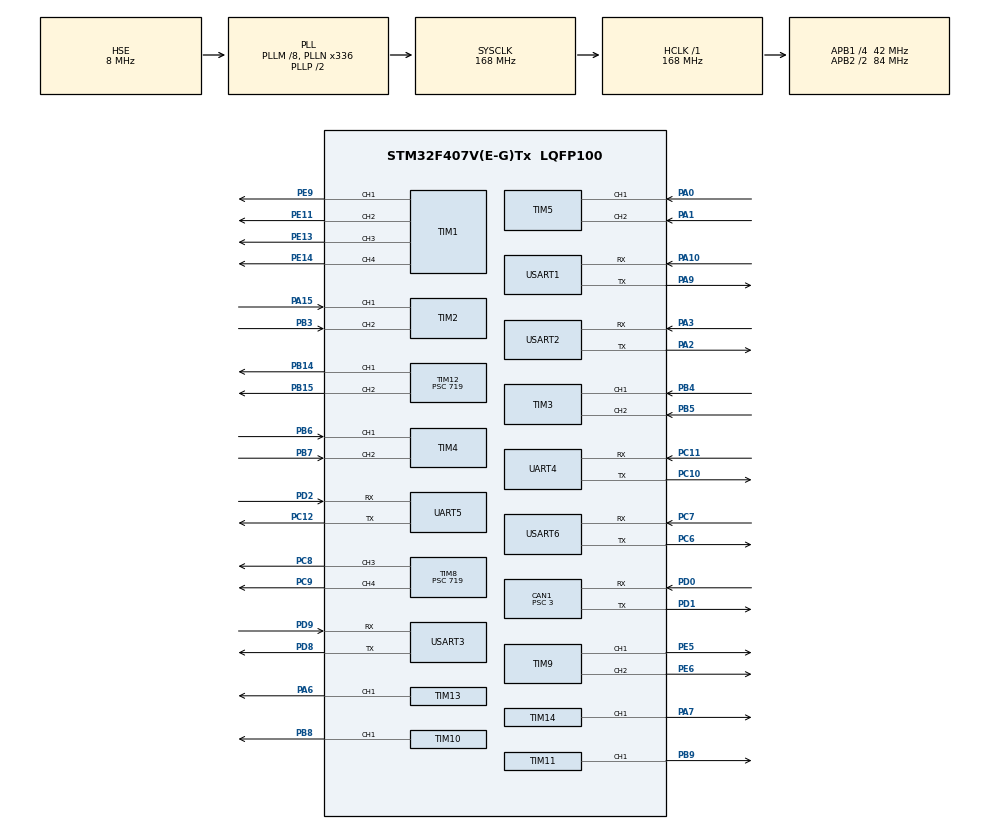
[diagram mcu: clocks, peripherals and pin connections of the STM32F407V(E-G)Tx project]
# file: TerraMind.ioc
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CAN1.BS1=CAN_BS1_9TQ
CAN1.BS2=CAN_BS2_4TQ
CAN1.CalculateBaudRate=1000000
CAN1.CalculateTimeBit=1000
CAN1.CalculateTimeQuantum=71.42857142857143
CAN1.Prescaler=3
FREERTOS.Tasks01=defaultTask,24,384,StartDefaultTask,Default,NULL,Dynamic,NULL,NULL
Mcu.Family=STM32F4
Mcu.Name=STM32F407V(E-G)Tx
Mcu.Package=LQFP100
NVIC.CAN1_RX0_IRQn=true\:5\:0\:false\:false\:true\:true\:true\:true\:true
NVIC.PriorityGroup=NVIC_PRIORITYGROUP_4
NVIC.TIM6_DAC_IRQn=true\:15\:0\:false\:false\:true\:false\:false\:true\:true
NVIC.TimeBase=TIM6_DAC_IRQn
NVIC.TimeBaseIP=TIM6
NVIC.UART4_IRQn=true\:5\:0\:false\:false\:true\:true\:true\:true\:true
NVIC.UART5_IRQn=true\:5\:0\:false\:false\:true\:true\:true\:true\:true
NVIC.USART1_IRQn=true\:5\:0\:false\:false\:true\:true\:true\:true\:true
NVIC.USART2_IRQn=true\:5\:0\:false\:false\:true\:true\:true\:true\:true
NVIC.USART3_IRQn=true\:5\:0\:false\:false\:true\:true\:true\:true\:true
NVIC.USART6_IRQn=true\:5\:0\:false\:false\:true\:true\:true\:true\:true
PA0-WKUP.Signal=S_TIM5_CH1
PA1.Signal=S_TIM5_CH2
PA10.Mode=Asynchronous
PA10.Signal=USART1_RX
PA13.Mode=Serial_Wire
PA13.Signal=SYS_JTMS-SWDIO
PA14.Mode=Serial_Wire
PA14.Signal=SYS_JTCK-SWCLK
PA15.Signal=S_TIM2_CH1_ETR
PA2.Mode=Asynchronous
PA2.Signal=USART2_TX
PA3.Mode=Asynchronous
PA3.Signal=USART2_RX
PA6.Signal=S_TIM13_CH1
PA7.Signal=S_TIM14_CH1
PA9.Mode=Asynchronous
PA9.Signal=USART1_TX
PB14.Signal=S_TIM12_CH1
PB15.Signal=S_TIM12_CH2
PB3.Signal=S_TIM2_CH2
PB4.Signal=S_TIM3_CH1
PB5.Signal=S_TIM3_CH2
PB6.Signal=S_TIM4_CH1
PB7.Signal=S_TIM4_CH2
PB8.Signal=S_TIM10_CH1
PB9.Signal=S_TIM11_CH1
PC10.Mode=Asynchronous
PC10.Signal=UART4_TX
PC11.Mode=Asynchronous
PC11.Signal=UART4_RX
PC12.Mode=Asynchronous
PC12.Signal=UART5_TX
PC14-OSC32_IN.Mode=LSE-External-Oscillator
PC14-OSC32_IN.Signal=RCC_OSC32_IN
PC15-OSC32_OUT.Mode=LSE-External-Oscillator
PC15-OSC32_OUT.Signal=RCC_OSC32_OUT
PC6.Mode=Asynchronous
PC6.Signal=USART6_TX
PC7.Mode=Asynchronous
PC7.Signal=USART6_RX
PC8.Signal=S_TIM8_CH3
PC9.Signal=S_TIM8_CH4
PD0.Mode=CAN_Activate
PD0.Signal=CAN1_RX
PD1.Mode=CAN_Activate
PD1.Signal=CAN1_TX
PD2.Mode=Asynchronous
PD2.Signal=UART5_RX
PD8.Mode=Asynchronous
PD8.Signal=USART3_TX
PD9.Mode=Asynchronous
PD9.Signal=USART3_RX
PE11.Signal=S_TIM1_CH2
PE13.Signal=S_TIM1_CH3
PE14.Signal=S_TIM1_CH4
PE5.Signal=S_TIM9_CH1
PE6.Signal=S_TIM9_CH2
PE9.Signal=S_TIM1_CH1
PH0-OSC_IN.Mode=HSE-External-Oscillator
PH0-OSC_IN.Signal=RCC_OSC_IN
PH1-OSC_OUT.Mode=HSE-External-Oscillator
PH1-OSC_OUT.Signal=RCC_OSC_OUT
ProjectManager.HeapSize=0x200
ProjectManager.StackSize=0x400
ProjectManager.TargetToolchain=MDK-ARM V5.32
RCC.48MHZClocksFreq_Value=84000000
RCC.AHBFreq_Value=168000000
RCC.APB1CLKDivider=RCC_HCLK_DIV4
RCC.APB1Freq_Value=42000000
RCC.APB1TimFreq_Value=84000000
RCC.APB2CLKDivider=RCC_HCLK_DIV2
RCC.APB2Freq_Value=84000000
RCC.APB2TimFreq_Value=168000000
RCC.CortexFreq_Value=168000000
RCC.HCLKFreq_Value=168000000
RCC.HSE_VALUE=8000000
RCC.HSI_VALUE=16000000
RCC.PLLM=8
RCC.PLLN=336
RCC.PLLSourceVirtual=RCC_PLLSOURCE_HSE
RCC.SYSCLKFreq_VALUE=168000000
RCC.SYSCLKSource=RCC_SYSCLKSOURCE_PLLCLK
RCC.VCOOutputFreq_Value=336000000
SH.S_TIM10_CH1.0=TIM10_CH1,PWM Generation1 CH1
SH.S_TIM11_CH1.0=TIM11_CH1,PWM Generation1 CH1
SH.S_TIM12_CH1.0=TIM12_CH1,PWM Generation1 CH1
SH.S_TIM12_CH2.0=TIM12_CH2,PWM Generation2 CH2
SH.S_TIM13_CH1.0=TIM13_CH1,PWM Generation1 CH1
SH.S_TIM14_CH1.0=TIM14_CH1,PWM Generation1 CH1
SH.S_TIM1_CH1.0=TIM1_CH1,PWM Generation1 CH1
SH.S_TIM1_CH2.0=TIM1_CH2,PWM Generation2 CH2
SH.S_TIM1_CH3.0=TIM1_CH3,PWM Generation3 CH3
SH.S_TIM1_CH4.0=TIM1_CH4,PWM Generation4 CH4
SH.S_TIM2_CH1_ETR.0=TIM2_CH1,Encoder_Interface
SH.S_TIM2_CH2.0=TIM2_CH2,Encoder_Interface
SH.S_TIM3_CH1.0=TIM3_CH1,Encoder_Interface
SH.S_TIM3_CH2.0=TIM3_CH2,Encoder_Interface
SH.S_TIM4_CH1.0=TIM4_CH1,Encoder_Interface
SH.S_TIM4_CH2.0=TIM4_CH2,Encoder_Interface
SH.S_TIM5_CH1.0=TIM5_CH1,Encoder_Interface
SH.S_TIM5_CH2.0=TIM5_CH2,Encoder_Interface
SH.S_TIM8_CH3.0=TIM8_CH3,PWM Generation3 CH3
SH.S_TIM8_CH4.0=TIM8_CH4,PWM Generation4 CH4
SH.S_TIM9_CH1.0=TIM9_CH1,PWM Generation1 CH1
SH.S_TIM9_CH2.0=TIM9_CH2,PWM Generation2 CH2
TIM1.Channel-PWM\ Generation1\ CH1=TIM_CHANNEL_1
TIM1.Channel-PWM\ Generation2\ CH2=TIM_CHANNEL_2
TIM1.Channel-PWM\ Generation3\ CH3=TIM_CHANNEL_3
TIM1.Channel-PWM\ Generation4\ CH4=TIM_CHANNEL_4
TIM10.Channel=TIM_CHANNEL_1
TIM11.Channel=TIM_CHANNEL_1
TIM12.Channel-PWM\ Generation1\ CH1=TIM_CHANNEL_1
TIM12.Channel-PWM\ Generation2\ CH2=TIM_CHANNEL_2
TIM12.OCPolarity_1=TIM_OCPOLARITY_LOW
TIM12.OCPolarity_2=TIM_OCPOLARITY_LOW
TIM12.Period=1999
TIM12.Prescaler=719
TIM13.Channel=TIM_CHANNEL_1
TIM13.Period=19999
TIM13.Prescaler=83
TIM14.Channel=TIM_CHANNEL_1
TIM14.Period=19999
TIM14.Prescaler=83
TIM2.EncoderMode=TIM_ENCODERMODE_TI12
TIM3.EncoderMode=TIM_ENCODERMODE_TI12
TIM4.EncoderMode=TIM_ENCODERMODE_TI12
TIM5.EncoderMode=TIM_ENCODERMODE_TI12
TIM8.Channel-PWM\ Generation3\ CH3=TIM_CHANNEL_3
TIM8.Channel-PWM\ Generation4\ CH4=TIM_CHANNEL_4
TIM8.OCPolarity_3=TIM_OCPOLARITY_LOW
TIM8.OCPolarity_4=TIM_OCPOLARITY_LOW
TIM8.Period=1999
TIM8.Prescaler=719
TIM9.Channel-PWM\ Generation1\ CH1=TIM_CHANNEL_1
TIM9.Channel-PWM\ Generation2\ CH2=TIM_CHANNEL_2
UART4.VirtualMode=Asynchronous
UART5.VirtualMode=Asynchronous
USART1.VirtualMode=VM_ASYNC
USART2.VirtualMode=VM_ASYNC
USART3.VirtualMode=VM_ASYNC
USART6.VirtualMode=VM_ASYNC
VP_FREERTOS_VS_CMSIS_V2.Mode=CMSIS_V2
VP_SYS_VS_tim6.Mode=TIM6
VP_TIM10_VS_ClockSourceINT.Mode=Enable_Timer
VP_TIM11_VS_ClockSourceINT.Mode=Enable_Timer
VP_TIM13_VS_ClockSourceINT.Mode=Enable_Timer
VP_TIM14_VS_ClockSourceINT.Mode=Enable_Timer
board=custom

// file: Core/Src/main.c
/* USER CODE BEGIN Header */
/**
  ******************************************************************************
  * @file           : main.c
  * @brief          : Main program body
  ******************************************************************************
  * @attention
  *
  * Copyright (c) 2026 STMicroelectronics.
  * All rights reserved.
  *
  * This software is licensed under terms that can be found in the LICENSE file
  * in the root directory of this software component.
  * If no LICENSE file comes with this software, it is provided AS-IS.
  *
  ******************************************************************************
  */
/* USER CODE END Header */
#include "main.h"
#include "cmsis_os.h"
#include "can.h"
#include "tim.h"
#include "usart.h"
#include "gpio.h"

void SystemClock_Config(void);
void MX_FREERTOS_Init(void);

int main(void)
{

  /* MCU Configuration--------------------------------------------------------*/

  /* Reset of all peripherals, Initializes the Flash interface and the Systick. */
  HAL_Init();

  /* Configure the system clock */
  SystemClock_Config();

  /* Initialize all configured peripherals */
  MX_GPIO_Init();
  MX_CAN1_Init();
  MX_TIM1_Init();
  MX_TIM2_Init();
  MX_TIM3_Init();
  MX_TIM4_Init();
  MX_TIM5_Init();
  MX_TIM8_Init();
  MX_TIM9_Init();
  MX_TIM12_Init();
  MX_UART4_Init();
  MX_UART5_Init();
  MX_USART1_UART_Init();
  MX_USART2_UART_Init();
  MX_USART3_UART_Init();
  MX_USART6_UART_Init();
  MX_TIM10_Init();
  MX_TIM11_Init();
  MX_TIM13_Init();
  MX_TIM14_Init();

  /* Init scheduler */
  osKernelInitialize();  /* Call init function for freertos objects (in cmsis_os2.c) */
  MX_FREERTOS_Init();

  /* Start scheduler */
  osKernelStart();

  /* We should never get here as control is now taken by the scheduler */

  /* Infinite loop */
  while (1)
  {

  }
}

void SystemClock_Config(void)
{
  RCC_OscInitTypeDef RCC_OscInitStruct = {0};
  RCC_ClkInitTypeDef RCC_ClkInitStruct = {0};

  /** Configure the main internal regulator output voltage
  */
  __HAL_RCC_PWR_CLK_ENABLE();
  __HAL_PWR_VOLTAGESCALING_CONFIG(PWR_REGULATOR_VOLTAGE_SCALE1);

  /** Initializes the RCC Oscillators according to the specified parameters
  * in the RCC_OscInitTypeDef structure.
  */
  RCC_OscInitStruct.OscillatorType = RCC_OSCILLATORTYPE_HSE;
  RCC_OscInitStruct.HSEState = RCC_HSE_ON;
  RCC_OscInitStruct.PLL.PLLState = RCC_PLL_ON;
  RCC_OscInitStruct.PLL.PLLSource = RCC_PLLSOURCE_HSE;
  RCC_OscInitStruct.PLL.PLLM = 8;
  RCC_OscInitStruct.PLL.PLLN = 336;
  RCC_OscInitStruct.PLL.PLLP = RCC_PLLP_DIV2;
  RCC_OscInitStruct.PLL.PLLQ = 4;
  if (HAL_RCC_OscConfig(&RCC_OscInitStruct) != HAL_OK)
  {
    Error_Handler();
  }

  /** Initializes the CPU, AHB and APB buses clocks
  */
  RCC_ClkInitStruct.ClockType = RCC_CLOCKTYPE_HCLK|RCC_CLOCKTYPE_SYSCLK
                              |RCC_CLOCKTYPE_PCLK1|RCC_CLOCKTYPE_PCLK2;
  RCC_ClkInitStruct.SYSCLKSource = RCC_SYSCLKSOURCE_PLLCLK;
  RCC_ClkInitStruct.AHBCLKDivider = RCC_SYSCLK_DIV1;
  RCC_ClkInitStruct.APB1CLKDivider = RCC_HCLK_DIV4;
  RCC_ClkInitStruct.APB2CLKDivider = RCC_HCLK_DIV2;

  if (HAL_RCC_ClockConfig(&RCC_ClkInitStruct, FLASH_LATENCY_5) != HAL_OK)
  {
    Error_Handler();
  }
}

void HAL_TIM_PeriodElapsedCallback(TIM_HandleTypeDef *htim)
{
  if (htim->Instance == TIM6)
  {
    HAL_IncTick();
  }
}

void Error_Handler(void)
{
  __disable_irq();
  while (1)
  {
  }
}

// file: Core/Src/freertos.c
/* USER CODE BEGIN Header */
/**
  ******************************************************************************
  * File Name          : freertos.c
  * Description        : Code for freertos applications
  ******************************************************************************
  * @attention
  *
  * Copyright (c) 2026 STMicroelectronics.
  * All rights reserved.
  *
  * This software is licensed under terms that can be found in the LICENSE file
  * in the root directory of this software component.
  * If no LICENSE file comes with this software, it is provided AS-IS.
  *
  ******************************************************************************
  */
/* USER CODE END Header */

#include "FreeRTOS.h"
#include "task.h"
#include "main.h"
#include "cmsis_os.h"

/* USER CODE BEGIN Includes */
#include "can.h"
#include "../../TerraMind_FW/App/app_main.h"

/* USER CODE END Includes */

/* Definitions for defaultTask */
osThreadId_t defaultTaskHandle;
const osThreadAttr_t defaultTask_attributes = {
  .name = "defaultTask",
  .stack_size = 384 * 4,
  .priority = (osPriority_t) osPriorityNormal,
};

/* USER CODE BEGIN FunctionPrototypes */
void StartInjectTask(void *argument);
/* USER CODE END FunctionPrototypes */

void StartDefaultTask(void *argument);

void MX_FREERTOS_Init(void); /* (MISRA C 2004 rule 8.1) */

void MX_FREERTOS_Init(void) {

  /* Create the thread(s) */
  /* creation of defaultTask */
  defaultTaskHandle = osThreadNew(StartDefaultTask, NULL, &defaultTask_attributes);

  /* USER CODE BEGIN RTOS_THREADS */
#if APP_TEST_MODE
  {
    const osThreadAttr_t injectTask_attributes = {
      .name = "injectTask",
      .stack_size = 128 * 2,
      .priority = osPriorityLow,
    };
    osThreadNew(StartInjectTask, NULL, &injectTask_attributes);
  }
#endif
  /* USER CODE END RTOS_THREADS */

}

void StartDefaultTask(void *argument)
{
  /* USER CODE BEGIN StartDefaultTask */
  App_ControlInit();

  /* Infinite loop */
  for(;;)
  {
    App_ControlStep();
    osDelay(2);
  }
  /* USER CODE END StartDefaultTask */
}

/* USER CODE BEGIN Application */
void StartInjectTask(void *argument)
{
  (void)argument;
  for(;;)
  {
    App_TestInjectStep();
    osDelay(50);
  }
}
/* USER CODE END Application */
